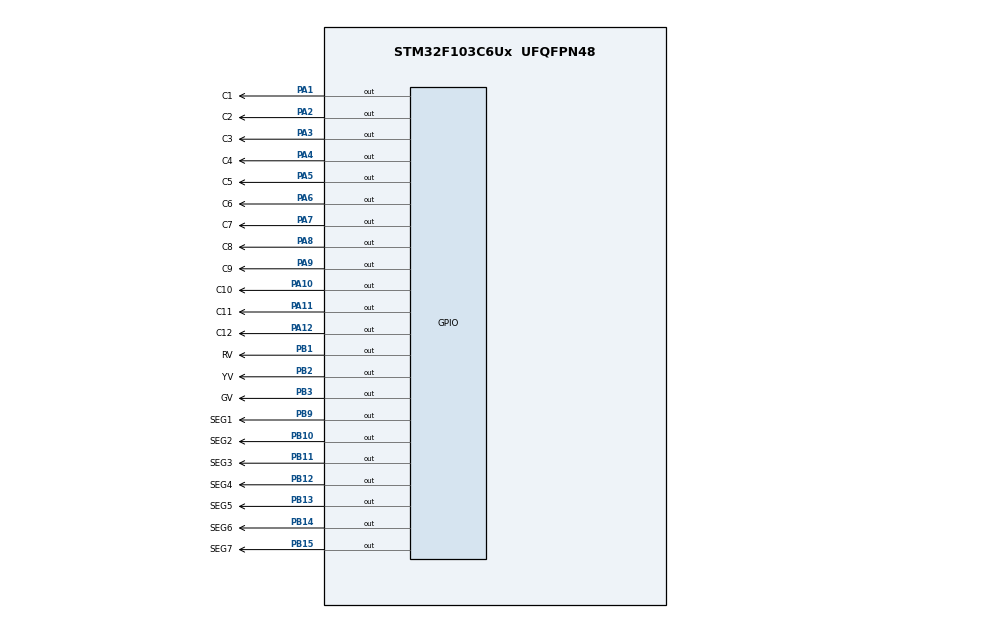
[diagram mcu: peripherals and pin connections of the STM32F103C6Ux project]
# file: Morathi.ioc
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Mcu.Family=STM32F1
Mcu.Name=STM32F103C6Ux
Mcu.Package=UFQFPN48
NVIC.PriorityGroup=NVIC_PRIORITYGROUP_4
NVIC.TIM1_BRK_IRQn=true\:0\:0\:false\:false\:true\:true\:true
NVIC.TIM1_CC_IRQn=true\:0\:0\:false\:false\:true\:true\:true
NVIC.TIM1_TRG_COM_IRQn=true\:0\:0\:false\:false\:true\:true\:true
NVIC.TIM1_UP_IRQn=true\:0\:0\:false\:false\:true\:true\:true
PA1.GPIO_Label=C1
PA1.Signal=GPIO_Output
PA10.GPIO_Label=C10
PA10.Signal=GPIO_Output
PA11.GPIO_Label=C11
PA11.Signal=GPIO_Output
PA12.GPIO_Label=C12
PA12.Signal=GPIO_Output
PA2.GPIO_Label=C2
PA2.Signal=GPIO_Output
PA3.GPIO_Label=C3
PA3.Signal=GPIO_Output
PA4.GPIO_Label=C4
PA4.Signal=GPIO_Output
PA5.GPIO_Label=C5
PA5.Signal=GPIO_Output
PA6.GPIO_Label=C6
PA6.Signal=GPIO_Output
PA7.GPIO_Label=C7
PA7.Signal=GPIO_Output
PA8.GPIO_Label=C8
PA8.Signal=GPIO_Output
PA9.GPIO_Label=C9
PA9.Signal=GPIO_Output
PB1.GPIO_Label=RV
PB1.Signal=GPIO_Output
PB10.GPIO_Label=SEG2
PB10.Signal=GPIO_Output
PB11.GPIO_Label=SEG3
PB11.Signal=GPIO_Output
PB12.GPIO_Label=SEG4
PB12.Signal=GPIO_Output
PB13.GPIO_Label=SEG5
PB13.Signal=GPIO_Output
PB14.GPIO_Label=SEG6
PB14.Signal=GPIO_Output
PB15.GPIO_Label=SEG7
PB15.Signal=GPIO_Output
PB2.GPIO_Label=YV
PB2.Signal=GPIO_Output
PB3.GPIO_Label=GV
PB3.Signal=GPIO_Output
PB9.GPIO_Label=SEG1
PB9.Signal=GPIO_Output
ProjectManager.HeapSize=0x200
ProjectManager.StackSize=0x400
ProjectManager.TargetToolchain=STM32CubeIDE
RCC.APB1Freq_Value=8000000
RCC.APB2Freq_Value=8000000
TIM1.Period=9
TIM1.Prescaler=7999
VP_SYS_VS_ND.Mode=No_Debug
VP_TIM1_VS_ClockSourceINT.Mode=Internal
board=custom

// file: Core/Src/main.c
/* USER CODE BEGIN Header */
/**
  ******************************************************************************
  * @file           : main.c
  * @brief          : Main program body
  ******************************************************************************
  * @attention
  *
  * <h2><center>&copy; Copyright (c) 2024 STMicroelectronics.
  * All rights reserved.</center></h2>
  *
  * This software component is licensed by ST under Ultimate Liberty license
  * SLA0044, the "License"; You may not use this file except in compliance with
  * the License. You may obtain a copy of the License at:
  *                             www.st.com/SLA0044
  *
  ******************************************************************************
  */
/* USER CODE END Header */
#include "main.h"
#include "software_timer.h"

/* USER CODE BEGIN Includes */
//#include "FreeRTOS.h"
//#include "task.h"
/* USER CODE END Includes */

/* USER CODE BEGIN PD */
// Define the array for number patterns
	uint8_t numbers[10][7] = {
    {1,1,1,1,1,1,0}, // 0
    {0,1,1,0,0,0,0}, // 1
    {1,1,0,1,1,0,1}, // 2
    {1,1,1,1,0,0,1}, // 3
    {0,1,1,0,0,1,1}, // 4
    {1,0,1,1,0,1,1}, // 5
    {1,0,1,1,1,1,1}, // 6
    {1,1,1,0,0,0,0}, // 7
    {1,1,1,1,1,1,1}, // 8
    {1,1,1,1,0,1,1}  // 9
};

#define TOTAL_LEDS 12
	uint16_t LED_PINS[TOTAL_LEDS] = {C1_Pin, C2_Pin, C3_Pin, C4_Pin, C5_Pin, C6_Pin, C7_Pin, C8_Pin, C9_Pin, C10_Pin, C12_Pin}; // Adjust pin numbers
	GPIO_TypeDef* LED_GPIO_PORT = GPIOA; // Adjust to your GPIO port

/* USER CODE END PD */

TIM_HandleTypeDef htim1;

/* USER CODE BEGIN PV */
	int hour = 0, minute = 0, second = 0;
/* USER CODE END PV */

void SystemClock_Config(void);
static void MX_GPIO_Init(void);
static void MX_TIM1_Init(void);
/* USER CODE BEGIN PFP */
void vLEDControlTask_handler(void *params);
void controlLED(GPIO_TypeDef* GPIOx, uint16_t GPIO_Pin, GPIO_PinState PinState) {
    HAL_GPIO_WritePin(GPIOx, GPIO_Pin, PinState);}
void LEDs_Off() {
    for (int i = 0; i < TOTAL_LEDS; i++) {
        HAL_GPIO_WritePin(LED_GPIO_PORT, LED_PINS[i], GPIO_PIN_RESET);
    }
}

// Function to display hour, minute, and second
void displayTime(int hour, int minute, int second) {
    LEDs_Off(); // Turn off all LEDs initially

    // Calculate LED indices (0-11) for hour, minute, and second
    int hourLED = hour % 12;
    int minuteLED = (minute / 5) % 12; // Every 5 minutes
    int secondLED = (second / 5) % 12; // Every 5 seconds

    // Turn on LEDs for hour, minute, and second. Ensure they are unique to avoid overwriting.
    if(hourLED == minuteLED || hourLED == secondLED) hourLED = (hourLED + 1) % 12;
    if(minuteLED == secondLED) minuteLED = (minuteLED + 1) % 12;

    HAL_GPIO_WritePin(LED_GPIO_PORT, LED_PINS[hourLED], GPIO_PIN_SET);
    HAL_GPIO_WritePin(LED_GPIO_PORT, LED_PINS[minuteLED], GPIO_PIN_SET);
    HAL_GPIO_WritePin(LED_GPIO_PORT, LED_PINS[secondLED], GPIO_PIN_SET);
}
// Function to display a number
void displayNumber(uint8_t num) {
    GPIO_PinState segmentState[7];
    for(int i = 0; i < 7; i++) {
        //segmentState[i] = numbers[num][i] ? GPIO_PIN_SET : GPIO_PIN_RESET;
    	if (numbers[num][i]){
    		segmentState[i] = GPIO_PIN_RESET; //inverted SET/RESET value due to wiring, particularly RESET to turn ON the SEG LED
    	}
    	else {
    		segmentState[i] = GPIO_PIN_SET;
    	}
    }

    HAL_GPIO_WritePin(SEG1_GPIO_Port, SEG1_Pin, segmentState[0]);
    HAL_GPIO_WritePin(SEG2_GPIO_Port, SEG2_Pin, segmentState[1]);
    HAL_GPIO_WritePin(SEG3_GPIO_Port, SEG3_Pin, segmentState[2]);
    HAL_GPIO_WritePin(SEG4_GPIO_Port, SEG4_Pin, segmentState[3]);
    HAL_GPIO_WritePin(SEG5_GPIO_Port, SEG5_Pin, segmentState[4]);
    HAL_GPIO_WritePin(SEG6_GPIO_Port, SEG6_Pin, segmentState[5]);
    HAL_GPIO_WritePin(SEG7_GPIO_Port, SEG7_Pin, segmentState[6]);
}
/* USER CODE END PFP */

int main(void)
{

  /* MCU Configuration--------------------------------------------------------*/

  /* Reset of all peripherals, Initializes the Flash interface and the Systick. */
  HAL_Init();

  /* Configure the system clock */
  SystemClock_Config();

  /* Initialize all configured peripherals */
  MX_GPIO_Init();
  MX_TIM1_Init();
  /* USER CODE BEGIN 2 */
  HAL_TIM_Base_Start_IT(&htim1);

  setTimer(0, 1);
  /* USER CODE END 2 */

  /* Infinite loop */
  /* USER CODE BEGIN WHILE */
  while (1)
  {
	  if (isTimerExpired(0) == 1) {
	  		//Up
	  		HAL_GPIO_WritePin(C1_GPIO_Port, C1_Pin, GPIO_PIN_SET); 			//RED - ON
	  		HAL_GPIO_WritePin(C12_GPIO_Port, C12_Pin, GPIO_PIN_RESET);	 	//YELLOW - OFF
	  		HAL_GPIO_WritePin(C11_GPIO_Port, C11_Pin, GPIO_PIN_RESET); 		//GREEN - OFF

	  		//Down
	  		HAL_GPIO_WritePin(C7_GPIO_Port, C7_Pin, GPIO_PIN_SET); 			//RED - ON
	  		HAL_GPIO_WritePin(C6_GPIO_Port, C6_Pin, GPIO_PIN_RESET); 		//YELLOW - OFF
	  		HAL_GPIO_WritePin(C5_GPIO_Port, C5_Pin, GPIO_PIN_RESET); 		//GREEN - OFF

	  		//Left
	  		HAL_GPIO_WritePin(C10_GPIO_Port, C10_Pin, GPIO_PIN_RESET); 		//RED - OFF
	  		HAL_GPIO_WritePin(C9_GPIO_Port, C9_Pin, GPIO_PIN_RESET);	 	//YELLOW - OFF
	  		HAL_GPIO_WritePin(C8_GPIO_Port, C8_Pin, GPIO_PIN_SET); 			//GREEN - ON

	  		//Right
	  		HAL_GPIO_WritePin(C4_GPIO_Port, C4_Pin, GPIO_PIN_RESET); 		//RED - OFF
	  		HAL_GPIO_WritePin(C3_GPIO_Port, C3_Pin, GPIO_PIN_RESET);	 	//YELLOW - OFF
	  		HAL_GPIO_WritePin(C2_GPIO_Port, C2_Pin, GPIO_PIN_SET); 			//GREEN - ON

	  		setTimer(1, 300);
	  	}
	  	if (isTimerExpired(1) == 1) {
	  		//Up
	  		HAL_GPIO_WritePin(C1_GPIO_Port, C1_Pin, GPIO_PIN_SET); 			//RED - ON
	  		HAL_GPIO_WritePin(C12_GPIO_Port, C12_Pin, GPIO_PIN_RESET);	 	//YELLOW - OFF
	  		HAL_GPIO_WritePin(C11_GPIO_Port, C11_Pin, GPIO_PIN_RESET); 		//GREEN - OFF

	  		//Down
	  		HAL_GPIO_WritePin(C7_GPIO_Port, C7_Pin, GPIO_PIN_SET); 			//RED - ON
	  		HAL_GPIO_WritePin(C6_GPIO_Port, C6_Pin, GPIO_PIN_RESET); 		//YELLOW - OFF
	  		HAL_GPIO_WritePin(C5_GPIO_Port, C5_Pin, GPIO_PIN_RESET); 		//GREEN - OFF

	  		//Left
	  		HAL_GPIO_WritePin(C10_GPIO_Port, C10_Pin, GPIO_PIN_RESET); 		//RED - OFF
	  		HAL_GPIO_WritePin(C9_GPIO_Port, C9_Pin, GPIO_PIN_SET);	 		//YELLOW - ON
	  		HAL_GPIO_WritePin(C8_GPIO_Port, C8_Pin, GPIO_PIN_RESET); 		//GREEN - OFF

	  		//Right
	  		HAL_GPIO_WritePin(C4_GPIO_Port, C4_Pin, GPIO_PIN_RESET); 		//RED - OFF
	  		HAL_GPIO_WritePin(C3_GPIO_Port, C3_Pin, GPIO_PIN_SET);	 		//YELLOW - ON
	  		HAL_GPIO_WritePin(C2_GPIO_Port, C2_Pin, GPIO_PIN_RESET); 		//GREEN - OFF

	  		setTimer(2, 200);
	  	}
	  	if (isTimerExpired(2) == 1) {
	  			//Up
	  			HAL_GPIO_WritePin(C1_GPIO_Port, C1_Pin, GPIO_PIN_RESET); 		//RED - OFF
	  			HAL_GPIO_WritePin(C12_GPIO_Port, C12_Pin, GPIO_PIN_RESET);	 	//YELLOW - OFF
	  			HAL_GPIO_WritePin(C11_GPIO_Port, C11_Pin, GPIO_PIN_SET); 		//GREEN - ON

	  			//Down
	  			HAL_GPIO_WritePin(C7_GPIO_Port, C7_Pin, GPIO_PIN_RESET); 			//RED - OFF
	  			HAL_GPIO_WritePin(C6_GPIO_Port, C6_Pin, GPIO_PIN_RESET); 		//YELLOW - OFF
	  			HAL_GPIO_WritePin(C5_GPIO_Port, C5_Pin, GPIO_PIN_SET); 		//GREEN - ON

	  			//Left
	  			HAL_GPIO_WritePin(C10_GPIO_Port, C10_Pin, GPIO_PIN_SET); 		//RED - ON
	  			HAL_GPIO_WritePin(C9_GPIO_Port, C9_Pin, GPIO_PIN_RESET);	 		//YELLOW - OFF
	  			HAL_GPIO_WritePin(C8_GPIO_Port, C8_Pin, GPIO_PIN_RESET); 		//GREEN - OFF

	  			//Right
	  			HAL_GPIO_WritePin(C4_GPIO_Port, C4_Pin, GPIO_PIN_SET); 		//RED - ON
	  			HAL_GPIO_WritePin(C3_GPIO_Port, C3_Pin, GPIO_PIN_RESET);	 		//YELLOW - OFF
	  			HAL_GPIO_WritePin(C2_GPIO_Port, C2_Pin, GPIO_PIN_RESET); 		//GREEN - OFF

	  			setTimer(3, 300);
	  		}
	  	if (isTimerExpired(3) == 1) {
	  				//Up
	  				HAL_GPIO_WritePin(C1_GPIO_Port, C1_Pin, GPIO_PIN_RESET); 		//RED - OFF
	  				HAL_GPIO_WritePin(C12_GPIO_Port, C12_Pin, GPIO_PIN_SET);	 	//YELLOW - ON
	  				HAL_GPIO_WritePin(C11_GPIO_Port, C11_Pin, GPIO_PIN_RESET); 		//GREEN - OFF

	  				//Down
	  				HAL_GPIO_WritePin(C7_GPIO_Port, C7_Pin, GPIO_PIN_RESET); 			//RED - OFF
	  				HAL_GPIO_WritePin(C6_GPIO_Port, C6_Pin, GPIO_PIN_SET); 		//YELLOW - ON
	  				HAL_GPIO_WritePin(C5_GPIO_Port, C5_Pin, GPIO_PIN_RESET); 		//GREEN - OFF

	  				//Left
	  				HAL_GPIO_WritePin(C10_GPIO_Port, C10_Pin, GPIO_PIN_SET); 		//RED - ON
	  				HAL_GPIO_WritePin(C9_GPIO_Port, C9_Pin, GPIO_PIN_RESET);	 		//YELLOW - OFF
	  				HAL_GPIO_WritePin(C8_GPIO_Port, C8_Pin, GPIO_PIN_RESET); 		//GREEN - OFF

	  				//Right
	  				HAL_GPIO_WritePin(C4_GPIO_Port, C4_Pin, GPIO_PIN_SET); 		//RED - ON
	  				HAL_GPIO_WritePin(C3_GPIO_Port, C3_Pin, GPIO_PIN_RESET);	 		//YELLOW - OFF
	  				HAL_GPIO_WritePin(C2_GPIO_Port, C2_Pin, GPIO_PIN_RESET); 		//GREEN - OFF

	  				setTimer(0, 200);
	  			}

    /* USER CODE END WHILE */

  }
}

void SystemClock_Config(void)
{
  RCC_OscInitTypeDef RCC_OscInitStruct = {0};
  RCC_ClkInitTypeDef RCC_ClkInitStruct = {0};

  /** Initializes the RCC Oscillators according to the specified parameters
  * in the RCC_OscInitTypeDef structure.
  */
  RCC_OscInitStruct.OscillatorType = RCC_OSCILLATORTYPE_HSI;
  RCC_OscInitStruct.HSIState = RCC_HSI_ON;
  RCC_OscInitStruct.HSICalibrationValue = RCC_HSICALIBRATION_DEFAULT;
  RCC_OscInitStruct.PLL.PLLState = RCC_PLL_NONE;
  if (HAL_RCC_OscConfig(&RCC_OscInitStruct) != HAL_OK)
  {
    Error_Handler();
  }
  /** Initializes the CPU, AHB and APB buses clocks
  */
  RCC_ClkInitStruct.ClockType = RCC_CLOCKTYPE_HCLK|RCC_CLOCKTYPE_SYSCLK
                              |RCC_CLOCKTYPE_PCLK1|RCC_CLOCKTYPE_PCLK2;
  RCC_ClkInitStruct.SYSCLKSource = RCC_SYSCLKSOURCE_HSI;
  RCC_ClkInitStruct.AHBCLKDivider = RCC_SYSCLK_DIV1;
  RCC_ClkInitStruct.APB1CLKDivider = RCC_HCLK_DIV1;
  RCC_ClkInitStruct.APB2CLKDivider = RCC_HCLK_DIV1;

  if (HAL_RCC_ClockConfig(&RCC_ClkInitStruct, FLASH_LATENCY_0) != HAL_OK)
  {
    Error_Handler();
  }
}

static void MX_TIM1_Init(void)
{

  TIM_ClockConfigTypeDef sClockSourceConfig = {0};
  TIM_MasterConfigTypeDef sMasterConfig = {0};

  htim1.Instance = TIM1;
  htim1.Init.Prescaler = 7999;
  htim1.Init.CounterMode = TIM_COUNTERMODE_UP;
  htim1.Init.Period = 9;
  htim1.Init.ClockDivision = TIM_CLOCKDIVISION_DIV1;
  htim1.Init.RepetitionCounter = 0;
  htim1.Init.AutoReloadPreload = TIM_AUTORELOAD_PRELOAD_DISABLE;
  if (HAL_TIM_Base_Init(&htim1) != HAL_OK)
  {
    Error_Handler();
  }
  sClockSourceConfig.ClockSource = TIM_CLOCKSOURCE_INTERNAL;
  if (HAL_TIM_ConfigClockSource(&htim1, &sClockSourceConfig) != HAL_OK)
  {
    Error_Handler();
  }
  sMasterConfig.MasterOutputTrigger = TIM_TRGO_RESET;
  sMasterConfig.MasterSlaveMode = TIM_MASTERSLAVEMODE_DISABLE;
  if (HAL_TIMEx_MasterConfigSynchronization(&htim1, &sMasterConfig) != HAL_OK)
  {
    Error_Handler();
  }

}

static void MX_GPIO_Init(void)
{
  GPIO_InitTypeDef GPIO_InitStruct = {0};

  /* GPIO Ports Clock Enable */
  __HAL_RCC_GPIOA_CLK_ENABLE();
  __HAL_RCC_GPIOB_CLK_ENABLE();

  /*Configure GPIO pin Output Level */
  HAL_GPIO_WritePin(GPIOA, C1_Pin|C2_Pin|C3_Pin|C4_Pin
                          |C5_Pin|C6_Pin|C7_Pin|C8_Pin
                          |C9_Pin|C10_Pin|C11_Pin|C12_Pin, GPIO_PIN_RESET);

  /*Configure GPIO pin Output Level */
  HAL_GPIO_WritePin(GPIOB, RV_Pin|YV_Pin|SEG2_Pin|SEG3_Pin
                          |SEG4_Pin|SEG5_Pin|SEG6_Pin|SEG7_Pin
                          |GV_Pin|SEG1_Pin, GPIO_PIN_RESET);

  /*Configure GPIO pins : C1_Pin C2_Pin C3_Pin C4_Pin
                           C5_Pin C6_Pin C7_Pin C8_Pin
                           C9_Pin C10_Pin C11_Pin C12_Pin */
  GPIO_InitStruct.Pin = C1_Pin|C2_Pin|C3_Pin|C4_Pin
                          |C5_Pin|C6_Pin|C7_Pin|C8_Pin
                          |C9_Pin|C10_Pin|C11_Pin|C12_Pin;
  GPIO_InitStruct.Mode = GPIO_MODE_OUTPUT_PP;
  GPIO_InitStruct.Pull = GPIO_NOPULL;
  GPIO_InitStruct.Speed = GPIO_SPEED_FREQ_LOW;
  HAL_GPIO_Init(GPIOA, &GPIO_InitStruct);

  /*Configure GPIO pins : RV_Pin YV_Pin SEG2_Pin SEG3_Pin
                           SEG4_Pin SEG5_Pin SEG6_Pin SEG7_Pin
                           GV_Pin SEG1_Pin */
  GPIO_InitStruct.Pin = RV_Pin|YV_Pin|SEG2_Pin|SEG3_Pin
                          |SEG4_Pin|SEG5_Pin|SEG6_Pin|SEG7_Pin
                          |GV_Pin|SEG1_Pin;
  GPIO_InitStruct.Mode = GPIO_MODE_OUTPUT_PP;
  GPIO_InitStruct.Pull = GPIO_NOPULL;
  GPIO_InitStruct.Speed = GPIO_SPEED_FREQ_LOW;
  HAL_GPIO_Init(GPIOB, &GPIO_InitStruct);

}

/* USER CODE BEGIN 4 */
void HAL_TIM_PeriodElapsedCallback(TIM_HandleTypeDef *htim){
	timerRun();
}
void vLEDControlTask_handler(void *params)
{
    while(1)
    {
        /* Turn RED LED ON and Yellow LED OFF */
        HAL_GPIO_WritePin(GPIOA, GPIO_PIN_5, GPIO_PIN_SET);   // RED LED ON
        HAL_GPIO_WritePin(GPIOA, GPIO_PIN_6, GPIO_PIN_RESET); // Yellow LED OFF
        //vTaskDelay(pdMS_TO_TICKS(2000)); // Wait for 2 seconds

        /* Turn RED LED OFF and Yellow LED ON */
        HAL_GPIO_WritePin(GPIOA, GPIO_PIN_5, GPIO_PIN_RESET); // RED LED OFF
        HAL_GPIO_WritePin(GPIOA, GPIO_PIN_6, GPIO_PIN_SET);   // Yellow LED ON
        //vTaskDelay(pdMS_TO_TICKS(2000)); // Wait for 2 seconds
    }
}
/* USER CODE END 4 */

void Error_Handler(void)
{
  __disable_irq();
  while (1)
  {
  }
}

/************************ (C) COPYRIGHT STMicroelectronics *****END OF FILE****/
